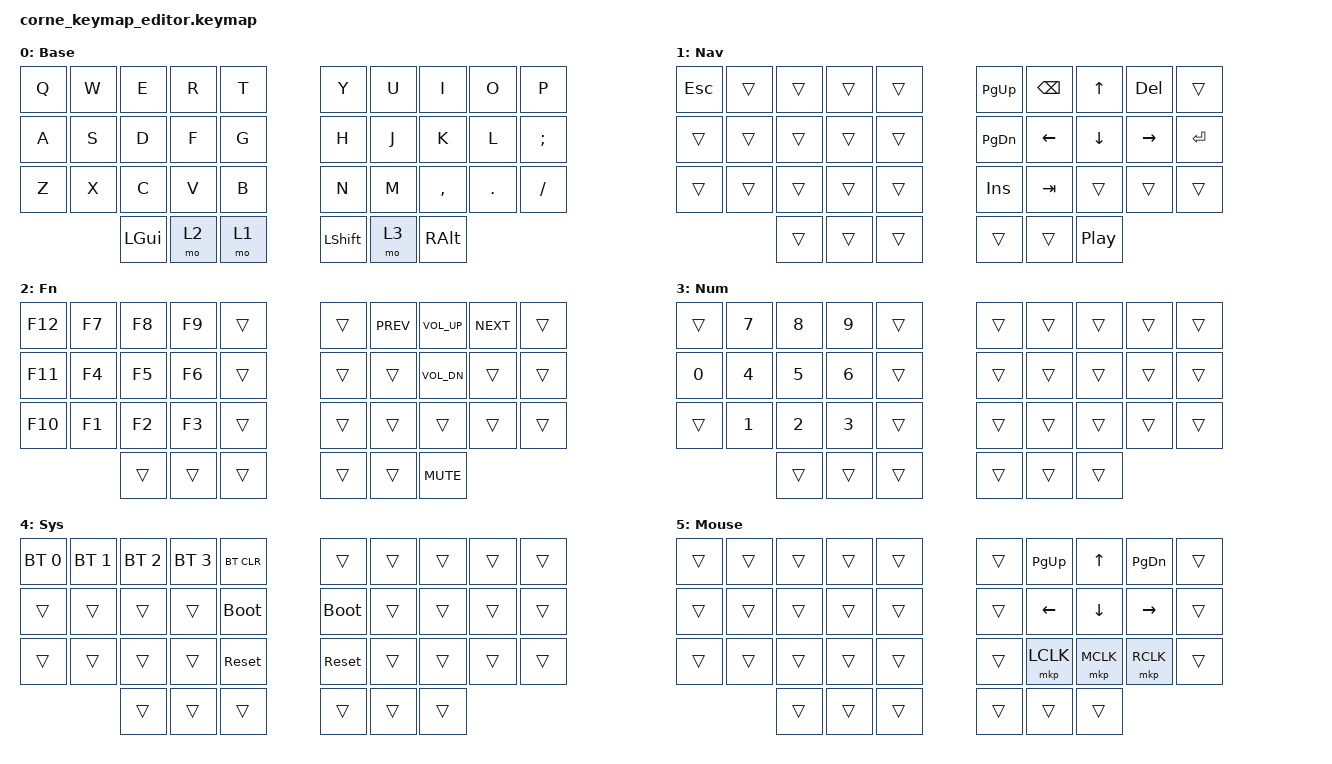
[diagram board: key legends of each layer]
/*
 * Editor-friendly Corne keymap.
 *
 * This file is intentionally simple so nickcoutsos/keymap-editor can parse it
 * without custom helper macros.
 */

#include <behaviors.dtsi>
#include <dt-bindings/zmk/keys.h>
#include <dt-bindings/zmk/bt.h>

/ {
    chosen {
        zmk,physical-layout = &foostan_corne_5col_layout;
    };

    keymap {
        compatible = "zmk,keymap";

        base {
            display-name = "Base";
            bindings = <
&kp Q     &kp W     &kp E     &kp R     &kp T       &kp Y      &kp U      &kp I      &kp O      &kp P
&kp A     &kp S     &kp D     &kp F     &kp G       &kp H      &kp J      &kp K      &kp L      &kp SCLN
&kp Z     &kp X     &kp C     &kp V     &kp B       &kp N      &kp M      &kp COMMA  &kp DOT    &kp FSLH
                   &kp LGUI   &mo 2     &mo 1       &kp LSHFT  &mo 3      &kp RALT
            >;
        };

        nav {
            display-name = "Nav";
            bindings = <
&kp ESC   &trans    &trans    &trans    &trans      &kp PG_UP  &kp BSPC   &kp UP     &kp DEL    &trans
&trans    &trans    &trans    &trans    &trans      &kp PG_DN  &kp LEFT   &kp DOWN   &kp RIGHT  &kp RET
&trans    &trans    &trans    &trans    &trans      &kp INS    &kp TAB    &trans     &trans     &trans
                   &trans     &trans    &trans      &trans     &trans     &kp C_PP
            >;
        };

        fn {
            display-name = "Fn";
            bindings = <
&kp F12   &kp F7    &kp F8    &kp F9    &trans      &trans     &kp C_PREV &kp C_VOL_UP &kp C_NEXT &trans
&kp F11   &kp F4    &kp F5    &kp F6    &trans      &trans     &trans     &kp C_VOL_DN &trans     &trans
&kp F10   &kp F1    &kp F2    &kp F3    &trans      &trans     &trans     &trans       &trans     &trans
                   &trans     &trans    &trans      &trans     &trans     &kp C_MUTE
            >;
        };

        num {
            display-name = "Num";
            bindings = <
&trans    &kp N7    &kp N8    &kp N9    &trans      &trans     &trans     &trans     &trans     &trans
&kp N0    &kp N4    &kp N5    &kp N6    &trans      &trans     &trans     &trans     &trans     &trans
&trans    &kp N1    &kp N2    &kp N3    &trans      &trans     &trans     &trans     &trans     &trans
                   &trans     &trans    &trans      &trans     &trans     &trans
            >;
        };

        sys {
            display-name = "Sys";
            bindings = <
&bt BT_SEL 0 &bt BT_SEL 1 &bt BT_SEL 2 &bt BT_SEL 3 &bt BT_CLR &trans &trans &trans &trans &trans
&trans       &trans       &trans       &trans       &bootloader &bootloader &trans &trans &trans &trans
&trans       &trans       &trans       &trans       &sys_reset  &sys_reset  &trans &trans &trans &trans
                         &trans       &trans       &trans       &trans      &trans  &trans
            >;
        };

        mouse {
            display-name = "Mouse";
            bindings = <
&trans    &trans    &trans    &trans    &trans      &trans     &kp PG_UP &kp UP    &kp PG_DN &trans
&trans    &trans    &trans    &trans    &trans      &trans     &kp LEFT  &kp DOWN  &kp RIGHT &trans
&trans    &trans    &trans    &trans    &trans      &trans     &mkp LCLK &mkp MCLK &mkp RCLK &trans
                   &trans     &trans    &trans      &trans     &trans    &trans
            >;
        };
    };
};
